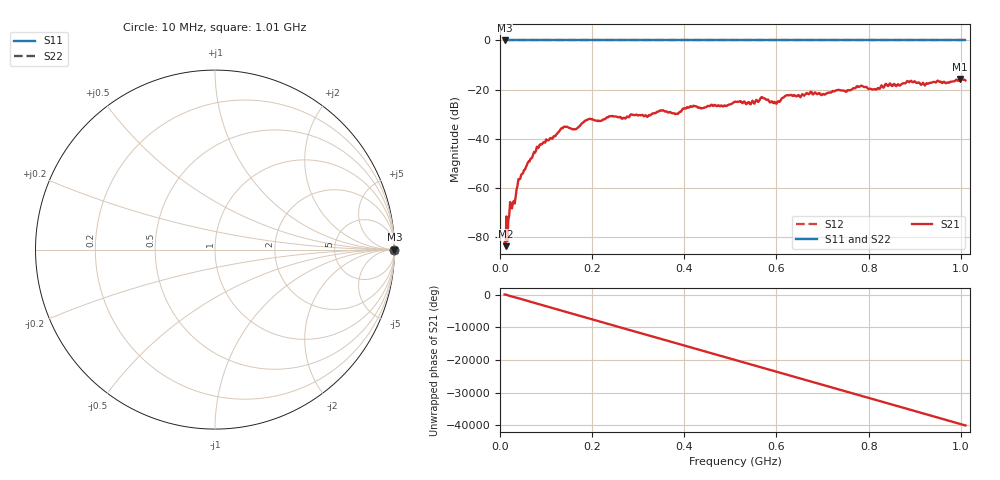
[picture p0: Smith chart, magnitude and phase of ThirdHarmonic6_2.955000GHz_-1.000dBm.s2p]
! 8/17/2025 8:19:22 AM
! C:\ANRITSUVNA\TEMP\TEMP.S2P
! CHANNEL.1
! TR.MEASUREMENT
! RAW.DATA
! RF.CORRECTION.OFF
! AVERAGING.OFF
! IF.BANDWIDTH: 5KHZ
! SWEEPTYPE:  FREQ.SWEEP(Linear)
! Reference Plane Port Info
! PORT:  PORT1  PORT2
! DISTANCE:  0  m  0  m
! TIME:  0  s  0  s
! PHASE.OFFSET:  0  deg.  0  deg.
! LOSS:  0  dB  0  dB
! REF.LOSS:  0  dB  0  dB
! REF.FREQ:  0  Hz  0  Hz
! Power Info
! POWER:  -20  dBm  -20  dBm
! EFF.POWER:  -20  dBm  -20  dBm
! SOURCE.ATTEN:  0  dB  0  dB
! TEST.ATTEN:  0  dB  0  dB
# GHZ S RI R 50.0
! FREQ.GHZ  S11RE  S11IM  S21RE  S21IM  S12RE  S12IM  S22RE  S22IM
!; PortSelection: Port_12
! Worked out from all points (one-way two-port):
!   501 points, 10 MHz to 1.01 GHz, reference 50 ohm
!   highest |S21| = -15.64 dB at 998 MHz (marker M1); lowest = -83.5 dB at 12 MHz (marker M2)
!   lowest |S11| = 0.0 dB at 10 MHz (marker M3)
!   |S11| at or under -10 dB: nowhere
!   |S22| runs from 0.0 to 0.0 dB; largest |S21 - S12| = 1.2
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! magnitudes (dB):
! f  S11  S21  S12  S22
! 10 MHz  0.0  -82.1  0.0  0.0
! 12 MHz  0.0  -83.5  0.0  0.0
! 22 MHz  0.0  -65.6  0.0  0.0
! 30 MHz  0.0  -65.2  0.0  0.0
! 42 MHz  0.0  -56.4  0.0  0.0
! 76 MHz  0.0  -45.6  0.0  0.0
! 136 MHz  0.0  -35.6  0.0  0.0
! 162 MHz  0.0  -36.1  0.0  0.0
! 178 MHz  0.0  -33.6  0.0  0.0
! 192 MHz  0.0  -31.9  0.0  0.0
! 344 MHz  0.0  -28.9  0.0  0.0
! 384 MHz  0.0  -29.8  0.0  0.0
! 416 MHz  0.0  -26.9  0.0  0.0
! 510 MHz  0.0  -24.8  0.0  0.0
! 548 MHz  0.0  -24.5  0.0  0.0
! 570 MHz  0.0  -23.2  0.0  0.0
! 596 MHz  0.0  -24.9  0.0  0.0
! 622 MHz  0.0  -22.2  0.0  0.0
! 678 MHz  0.0  -21.8  0.0  0.0
! 844 MHz  0.0  -18.1  0.0  0.0
! 998 MHz  0.0  -15.6  0.0  0.0
! 1.01 GHz  0.0  -16.2  0.0  0.0
